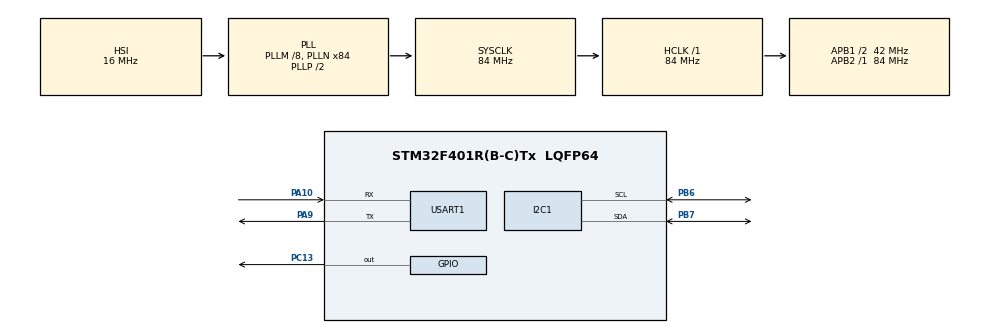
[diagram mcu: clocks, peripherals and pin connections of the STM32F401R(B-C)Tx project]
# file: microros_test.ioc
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Dma.Request0=USART1_RX
Dma.Request1=USART1_TX
Dma.USART1_RX.0.Direction=DMA_PERIPH_TO_MEMORY
Dma.USART1_RX.0.FIFOMode=DMA_FIFOMODE_DISABLE
Dma.USART1_RX.0.Instance=DMA2_Stream2
Dma.USART1_RX.0.MemDataAlignment=DMA_MDATAALIGN_BYTE
Dma.USART1_RX.0.MemInc=DMA_MINC_ENABLE
Dma.USART1_RX.0.Mode=DMA_CIRCULAR
Dma.USART1_RX.0.PeriphDataAlignment=DMA_PDATAALIGN_BYTE
Dma.USART1_RX.0.PeriphInc=DMA_PINC_DISABLE
Dma.USART1_RX.0.Priority=DMA_PRIORITY_VERY_HIGH
Dma.USART1_TX.1.Direction=DMA_MEMORY_TO_PERIPH
Dma.USART1_TX.1.FIFOMode=DMA_FIFOMODE_DISABLE
Dma.USART1_TX.1.Instance=DMA2_Stream7
Dma.USART1_TX.1.MemDataAlignment=DMA_MDATAALIGN_BYTE
Dma.USART1_TX.1.MemInc=DMA_MINC_ENABLE
Dma.USART1_TX.1.Mode=DMA_NORMAL
Dma.USART1_TX.1.PeriphDataAlignment=DMA_PDATAALIGN_BYTE
Dma.USART1_TX.1.PeriphInc=DMA_PINC_DISABLE
Dma.USART1_TX.1.Priority=DMA_PRIORITY_VERY_HIGH
FREERTOS.Tasks01=defaultTask,24,500,StartDefaultTask,Default,NULL,Static,defaultTaskBuffer,defaultTaskControlBlock
Mcu.Family=STM32F4
Mcu.Name=STM32F401R(B-C)Tx
Mcu.Package=LQFP64
NVIC.DMA2_Stream2_IRQn=true\:5\:0\:false\:false\:true\:true\:false\:true\:true
NVIC.DMA2_Stream7_IRQn=true\:5\:0\:false\:false\:true\:true\:false\:true\:true
NVIC.PriorityGroup=NVIC_PRIORITYGROUP_4
NVIC.TIM1_UP_TIM10_IRQn=true\:15\:0\:false\:false\:true\:false\:false\:true\:true
NVIC.TimeBase=TIM1_UP_TIM10_IRQn
NVIC.TimeBaseIP=TIM1
NVIC.USART1_IRQn=true\:5\:0\:false\:false\:true\:true\:false\:true\:true
PA10.Mode=Asynchronous
PA10.Signal=USART1_RX
PA9.Mode=Asynchronous
PA9.Signal=USART1_TX
PB6.Mode=I2C
PB6.Signal=I2C1_SCL
PB7.Mode=I2C
PB7.Signal=I2C1_SDA
PC13-ANTI_TAMP.Signal=GPIO_Output
PH0\ -\ OSC_IN.Mode=HSE-External-Oscillator
PH0\ -\ OSC_IN.Signal=RCC_OSC_IN
PH1\ -\ OSC_OUT.Mode=HSE-External-Oscillator
PH1\ -\ OSC_OUT.Signal=RCC_OSC_OUT
ProjectManager.HeapSize=0x200
ProjectManager.StackSize=0x400
ProjectManager.TargetToolchain=Makefile
RCC.48MHZClocksFreq_Value=42000000
RCC.AHBFreq_Value=84000000
RCC.APB1CLKDivider=RCC_HCLK_DIV2
RCC.APB1Freq_Value=42000000
RCC.APB1TimFreq_Value=84000000
RCC.APB2Freq_Value=84000000
RCC.APB2TimFreq_Value=84000000
RCC.CortexFreq_Value=84000000
RCC.HCLKFreq_Value=84000000
RCC.HSE_VALUE=25000000
RCC.HSI_VALUE=16000000
RCC.LSE_VALUE=32768
RCC.PLLM=8
RCC.PLLN=84
RCC.SYSCLKFreq_VALUE=84000000
RCC.SYSCLKSource=RCC_SYSCLKSOURCE_PLLCLK
RCC.VCOOutputFreq_Value=168000000
USART1.VirtualMode=VM_ASYNC
VP_FREERTOS_VS_CMSIS_V2.Mode=CMSIS_V2
VP_SYS_VS_tim1.Mode=TIM1
board=custom

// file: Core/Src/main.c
/* USER CODE BEGIN Header */
/**
  ******************************************************************************
  * @file           : main.c
  * @brief          : Main program body
  ******************************************************************************
  * @attention
  *
  * Copyright (c) 2025 STMicroelectronics.
  * All rights reserved.
  *
  * This software is licensed under terms that can be found in the LICENSE file
  * in the root directory of this software component.
  * If no LICENSE file comes with this software, it is provided AS-IS.
  *
  ******************************************************************************
  */
/* USER CODE END Header */
#include "main.h"
#include "cmsis_os.h"
#include "dma.h"
#include "i2c.h"
#include "usart.h"
#include "gpio.h"

/* USER CODE BEGIN Includes */
#include "IMU.h"
/* USER CODE END Includes */

void SystemClock_Config(void);
void MX_FREERTOS_Init(void);

int main(void)
{

  /* MCU Configuration--------------------------------------------------------*/

  /* Reset of all peripherals, Initializes the Flash interface and the Systick. */
  HAL_Init();

  /* Configure the system clock */
  SystemClock_Config();

  /* Initialize all configured peripherals */
  MX_GPIO_Init();
  MX_DMA_Init();
  MX_USART1_UART_Init();
  MX_I2C1_Init();
  /* USER CODE BEGIN 2 */
  IMU_Setup(&hi2c1);
  /* USER CODE END 2 */

  /* Init scheduler */
  osKernelInitialize();  /* Call init function for freertos objects (in cmsis_os2.c) */
  MX_FREERTOS_Init();

  /* Start scheduler */
  osKernelStart();

  /* We should never get here as control is now taken by the scheduler */

  /* Infinite loop */
  while (1)
  {

  }
}

void SystemClock_Config(void)
{
  RCC_OscInitTypeDef RCC_OscInitStruct = {0};
  RCC_ClkInitTypeDef RCC_ClkInitStruct = {0};

  /** Configure the main internal regulator output voltage
  */
  __HAL_RCC_PWR_CLK_ENABLE();
  __HAL_PWR_VOLTAGESCALING_CONFIG(PWR_REGULATOR_VOLTAGE_SCALE2);

  /** Initializes the RCC Oscillators according to the specified parameters
  * in the RCC_OscInitTypeDef structure.
  */
  RCC_OscInitStruct.OscillatorType = RCC_OSCILLATORTYPE_HSI;
  RCC_OscInitStruct.HSIState = RCC_HSI_ON;
  RCC_OscInitStruct.HSICalibrationValue = RCC_HSICALIBRATION_DEFAULT;
  RCC_OscInitStruct.PLL.PLLState = RCC_PLL_ON;
  RCC_OscInitStruct.PLL.PLLSource = RCC_PLLSOURCE_HSI;
  RCC_OscInitStruct.PLL.PLLM = 8;
  RCC_OscInitStruct.PLL.PLLN = 84;
  RCC_OscInitStruct.PLL.PLLP = RCC_PLLP_DIV2;
  RCC_OscInitStruct.PLL.PLLQ = 4;
  if (HAL_RCC_OscConfig(&RCC_OscInitStruct) != HAL_OK)
  {
    Error_Handler();
  }

  /** Initializes the CPU, AHB and APB buses clocks
  */
  RCC_ClkInitStruct.ClockType = RCC_CLOCKTYPE_HCLK|RCC_CLOCKTYPE_SYSCLK
                              |RCC_CLOCKTYPE_PCLK1|RCC_CLOCKTYPE_PCLK2;
  RCC_ClkInitStruct.SYSCLKSource = RCC_SYSCLKSOURCE_PLLCLK;
  RCC_ClkInitStruct.AHBCLKDivider = RCC_SYSCLK_DIV1;
  RCC_ClkInitStruct.APB1CLKDivider = RCC_HCLK_DIV2;
  RCC_ClkInitStruct.APB2CLKDivider = RCC_HCLK_DIV1;

  if (HAL_RCC_ClockConfig(&RCC_ClkInitStruct, FLASH_LATENCY_2) != HAL_OK)
  {
    Error_Handler();
  }
}

void HAL_TIM_PeriodElapsedCallback(TIM_HandleTypeDef *htim)
{
  if (htim->Instance == TIM1)
  {
    HAL_IncTick();
  }
}

void Error_Handler(void)
{
  __disable_irq();
  while (1)
  {
  }
}

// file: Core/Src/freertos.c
/* USER CODE BEGIN Header */
/**
  ******************************************************************************
  * File Name          : freertos.c
  * Description        : Code for freertos applications
  ******************************************************************************
  * @attention
  *
  * Copyright (c) 2025 STMicroelectronics.
  * All rights reserved.
  *
  * This software is licensed under terms that can be found in the LICENSE file
  * in the root directory of this software component.
  * If no LICENSE file comes with this software, it is provided AS-IS.
  *
  ******************************************************************************
  */
/* USER CODE END Header */

#include "FreeRTOS.h"
#include "task.h"
#include "main.h"
#include "cmsis_os.h"

/* USER CODE BEGIN Includes */
#include "usart.h"
#include <rcl/rcl.h>
#include <rcl/error_handling.h>
#include <rclc/rclc.h>
#include <rclc/executor.h>
#include <uxr/client/transport.h>
#include <rmw_microxrcedds_c/config.h>
#include <rmw_microros/rmw_microros.h>
#include <sensor_msgs/msg/imu.h>
#include "IMU.h"

#include <std_msgs/msg/int32.h>
/* USER CODE END Includes */

typedef StaticTask_t osStaticThreadDef_t;
/* USER CODE BEGIN PTD */
extern IMU_INFO imu;
/* USER CODE END PTD */

/* Definitions for defaultTask */
osThreadId_t defaultTaskHandle;
uint32_t defaultTaskBuffer[ 1000 ];
osStaticThreadDef_t defaultTaskControlBlock;
const osThreadAttr_t defaultTask_attributes = {
  .name = "defaultTask",
  .cb_mem = &defaultTaskControlBlock,
  .cb_size = sizeof(defaultTaskControlBlock),
  .stack_mem = &defaultTaskBuffer[0],
  .stack_size = sizeof(defaultTaskBuffer),
  .priority = (osPriority_t) osPriorityNormal,
};

/* USER CODE BEGIN FunctionPrototypes */
//Micro-ROS Builtin Functions
bool cubemx_transport_open(struct uxrCustomTransport * transport);
bool cubemx_transport_close(struct uxrCustomTransport * transport);
size_t cubemx_transport_write(struct uxrCustomTransport* transport, const uint8_t * buf, size_t len, uint8_t * err);
size_t cubemx_transport_read(struct uxrCustomTransport* transport, uint8_t* buf, size_t len, int timeout, uint8_t* err);

void * microros_allocate(size_t size, void * state);
void microros_deallocate(void * pointer, void * state);
void * microros_reallocate(void * pointer, size_t size, void * state);
void * microros_zero_allocate(size_t number_of_elements, size_t size_of_element, void * state);
// This function runs when a message is received on the topic
void led_subscription_callback(const void * msgin)
{
  // Cast the received message to the correct type
  const std_msgs__msg__Int32 * msg = (const std_msgs__msg__Int32 *)msgin;

  // Logic: 1 = LED ON, 0 = LED OFF
  if (msg->data == 1) {
    HAL_GPIO_WritePin(GPIOC, GPIO_PIN_13, GPIO_PIN_SET);
  } else {
    HAL_GPIO_WritePin(GPIOC, GPIO_PIN_13, GPIO_PIN_RESET);
  }
}
/* USER CODE END FunctionPrototypes */

void StartDefaultTask(void *argument);

void MX_FREERTOS_Init(void); /* (MISRA C 2004 rule 8.1) */

void MX_FREERTOS_Init(void) {

  /* Create the thread(s) */
  /* creation of defaultTask */
  defaultTaskHandle = osThreadNew(StartDefaultTask, NULL, &defaultTask_attributes);

}

void StartDefaultTask(void *argument)
{
    /* USER CODE BEGIN StartDefaultTask */

    // micro-ROS configuration
    rmw_uros_set_custom_transport(
      true,
      (void *) &huart1,
      cubemx_transport_open,
      cubemx_transport_close,
      cubemx_transport_write,
      cubemx_transport_read);

    rcl_allocator_t freeRTOS_allocator = rcutils_get_zero_initialized_allocator();
    freeRTOS_allocator.allocate = microros_allocate;
    freeRTOS_allocator.deallocate = microros_deallocate;
    freeRTOS_allocator.reallocate = microros_reallocate;
    freeRTOS_allocator.zero_allocate =  microros_zero_allocate;

    if (!rcutils_set_default_allocator(&freeRTOS_allocator)) {
        printf("Error on default allocators (line %d)\n", __LINE__);
    }

    // ---------------- micro-ROS Node ----------------
    rclc_support_t support;
    rcl_allocator_t allocator = rcl_get_default_allocator();
    rcl_node_t node;
    rcl_publisher_t imu_publisher;
    rclc_executor_t executor;

    rclc_support_init(&support, 0, NULL, &allocator);

    // Node name: "stm32_imu_node"
    rclc_node_init_default(&node, "stm32_imu_node", "", &support);

    // Initialize publisher for sensor_msgs/Imu on topic "/imu/data"
    rclc_publisher_init_default(
        &imu_publisher,
        &node,
        ROSIDL_GET_MSG_TYPE_SUPPORT(sensor_msgs, msg, Imu),
        "/imu/data");

    // Initialize executor (no subscriptions needed now)
    rclc_executor_init(&executor, &support.context, 0, &allocator);

    // ---------------- IMU setup ----------------
    //IMU_Setup(&hi2c1);

    sensor_msgs__msg__Imu imu_msg;
    sensor_msgs__msg__Imu__init(&imu_msg);
    rosidl_runtime_c__String__assign(&imu_msg.header.frame_id, "imu_link");
    for(;;)
    {
        // Read IMU data
        IMU_Operation(&imu);

        // Fill sensor_msgs/Imu
        imu_msg.header.stamp.sec = 0;       // Could add timestamp later
        imu_msg.header.stamp.nanosec = 0;
        imu_msg.header.frame_id.data = "imu_link";
        imu_msg.header.frame_id.size = strlen("imu_link");
        imu_msg.header.frame_id.capacity = strlen("imu_link") + 1;

        // Orientation from Euler angles → convert to quaternion (simplified)
        imu_msg.orientation.x = imu.Roll;
        imu_msg.orientation.y = imu.Pitch;
        imu_msg.orientation.z = imu.Yaw;
        imu_msg.orientation.w = 1.0;

        // Angular velocity (deg/sec)
        imu_msg.angular_velocity.x = imu.GyroX;
        imu_msg.angular_velocity.y = imu.GyroY;
        imu_msg.angular_velocity.z = imu.GyroZ;

        // Linear acceleration (m/s^2)
        imu_msg.linear_acceleration.x = imu.linAccX;
        imu_msg.linear_acceleration.y = imu.linAccY;
        imu_msg.linear_acceleration.z = imu.linAccZ;

        // Publish IMU message
        rcl_ret_t ret = rcl_publish(&imu_publisher, &imu_msg, NULL);
        if (ret != RCL_RET_OK) {
            printf("Error publishing IMU data\n");
        }

        // Spin executor (no callbacks now, safe)
//        rclc_executor_spin_some(&executor, RCL_MS_TO_NS(10));

        osDelay(50);  // 20Hz publishing rate
    }

    /* USER CODE END StartDefaultTask */
}
